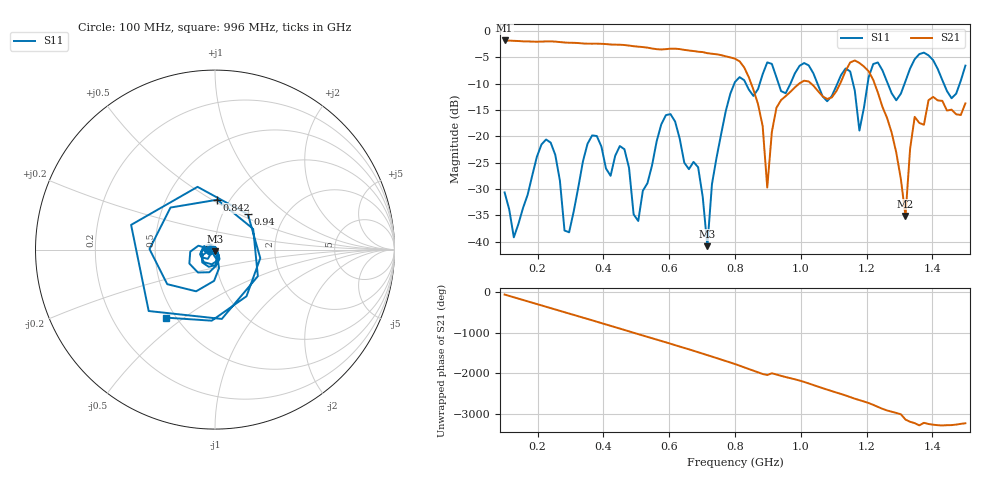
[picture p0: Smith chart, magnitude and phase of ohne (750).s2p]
! NanoVNA-App
! Date: 2025-09-25 14:26:38
! Start: 100MHz Stop: 1,5GHz Points: 101
! S-Parameter data: F S11 S21 S12 S22
# Hz S RI R 50
!  Frequency  S11_Real  S11_Imag  S21_Real  S21_Imag  S12_Real  S12_Imag  S22_Real  S22_Imag
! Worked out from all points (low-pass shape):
!   101 points, 100 MHz to 1.5 GHz, reference 50 ohm
!   highest |S21| = -1.79 dB at 100 MHz (marker M1); lowest = -35.1 dB at 1.318 GHz (marker M2)
!   |S21| within 3 dB of the highest: start of sweep to 770.9 MHz
!   lowest |S11| = -40.8 dB at 716 MHz (marker M3), VSWR 1.02, Z = 49.9 - j0.895 ohm
!   |S11| at or under -10 dB: start of sweep to 797.9 MHz; 833.2 MHz to 875.1 MHz (41.89 MHz wide, 4.9 % of centre); 1.051 GHz to 1.111 GHz (60.28 MHz wide, 5.58 % of centre) (the widest 3 of 7)
!   S12 and S22 are empty: the file has one direction only
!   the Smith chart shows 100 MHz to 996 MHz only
!   S11 on the Smith chart (normalised r, x): 100 MHz: 0.94, -0.01; 842 MHz: 0.88, +0.53; 940 MHz: 1.32, +0.56; 996 MHz: 0.44, -0.43
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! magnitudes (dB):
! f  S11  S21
! 100 MHz  -30.6  -1.8
! 128 MHz  -39.2  -1.9
! 226 MHz  -20.6  -2.0
! 296 MHz  -38.2  -2.2
! 338 MHz  -24.7  -2.4
! 464 MHz  -22.4  -2.7
! 506 MHz  -36.1  -3.0
! 576 MHz  -17.7  -3.5
! 688 MHz  -25.9  -3.9
! 716 MHz  -40.8  -4.2
! 800 MHz  -9.7  -5.2
! 842 MHz  -11.1  -8.8
! 898 MHz  -6.0  -29.7
! 940 MHz  -11.4  -13.1
! 996 MHz  -6.6  -9.9
! 1.038 GHz  -8.0  -10.4
! 1.178 GHz  -18.9  -6.1
! 1.22 GHz  -6.3  -9.3
! 1.276 GHz  -11.8  -19.3
! 1.318 GHz  -9.5  -35.1
! 1.346 GHz  -5.4  -16.3
! 1.5 GHz  -6.6  -13.7
